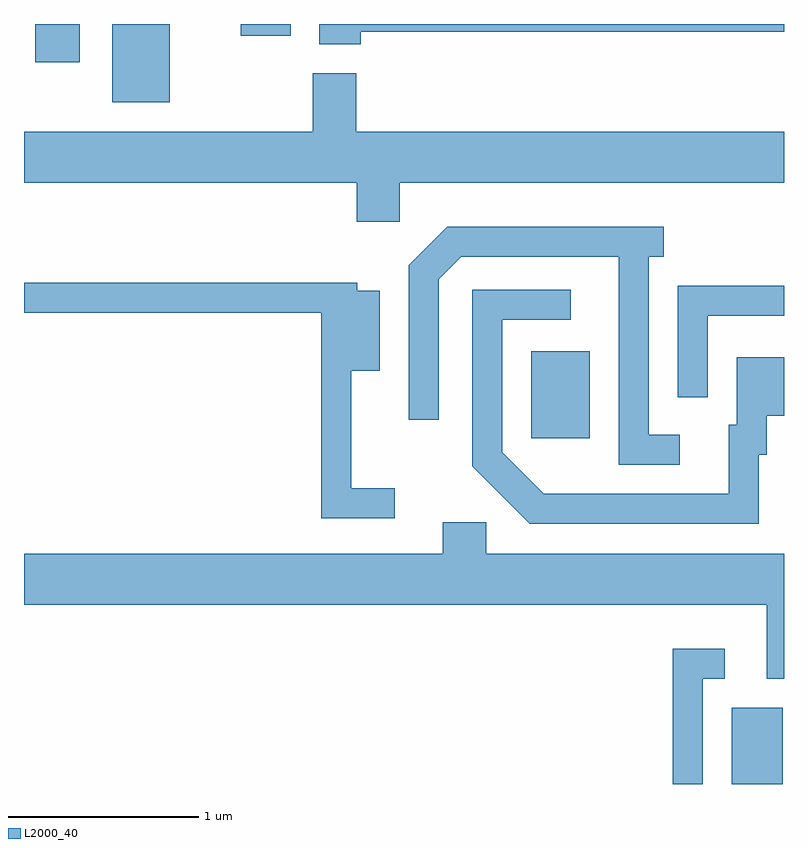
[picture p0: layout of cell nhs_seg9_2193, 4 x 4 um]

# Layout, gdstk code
import gdstk
lib = gdstk.Library(unit=1e-6, precision=1e-09)
def R(c, l, rs):  # rectangles x0, y0, x1, y1
    for r in rs: c.add(gdstk.rectangle(r[:2], r[2:], *l))
def P(c, l, *ps):  # polygons
    for p in ps: c.add(gdstk.Polygon(p, *l))
L2000_40 = (2000, 40)

nhs_seg9_2193 = lib.new_cell('nhs_seg9_2193')
R(nhs_seg9_2193, L2000_40, [(253.336,1986.432,253.604,1986.834), (252.281,1988.251,252.589,1988.709), (250.076,1990.021,250.379,1990.432), (249.671,1990.231,249.904,1990.432), (250.751,1990.371,251.014,1990.432)])
P(nhs_seg9_2193, L2000_40, [(251.384,1990.391),(253.611,1990.391),(253.611,1990.432),(251.166,1990.432),(251.166,1990.326),(251.384,1990.326)],
  [(251.589,1989.596),(253.611,1989.596),(253.611,1989.864),(251.359,1989.864),(251.359,1990.174),(251.131,1990.174),(251.131,1989.864),(249.611,1989.864),(249.611,1989.596),(251.361,1989.596),(251.361,1989.391),(251.589,1989.391)],
  [(253.063,1988.269),(252.899,1988.269),(252.899,1989.206),(252.978,1989.206),(252.978,1989.364),(251.839,1989.364),(251.636,1989.162),(251.636,1988.348),(251.794,1988.348),(251.794,1989.089),(251.912,1989.206),(252.741,1989.206),(252.741,1988.111),(253.063,1988.111)],
  [(251.563,1987.989),(251.334,1987.989),(251.334,1988.606),(251.484,1988.606),(251.484,1989.029),(251.364,1989.029),(251.364,1989.069),(249.611,1989.069),(249.611,1988.911),(251.176,1988.911),(251.176,1987.831),(251.563,1987.831)],
  [(253.209,1988.896),(253.611,1988.896),(253.611,1989.054),(253.051,1989.054),(253.051,1988.468),(253.209,1988.468)],
  [(253.479,1988.166),(253.519,1988.166),(253.519,1988.371),(253.611,1988.371),(253.611,1988.679),(253.361,1988.679),(253.361,1988.324),(253.321,1988.324),(253.321,1987.959),(252.347,1987.959),(252.129,1988.177),(252.129,1988.876),(252.488,1988.876),(252.488,1989.034),(251.971,1989.034),(251.971,1988.104),(252.274,1987.801),(253.479,1987.801)],
  [(253.611,1987.644),(252.044,1987.644),(252.044,1987.809),(251.816,1987.809),(251.816,1987.644),(249.611,1987.644),(249.611,1987.376),(253.521,1987.376),(253.521,1986.986),(253.611,1986.986)],
  [(253.184,1986.986),(253.298,1986.986),(253.298,1987.144),(253.026,1987.144),(253.026,1986.432),(253.184,1986.432)])

lib.write_gds('nhs_seg9_2193.gds')
